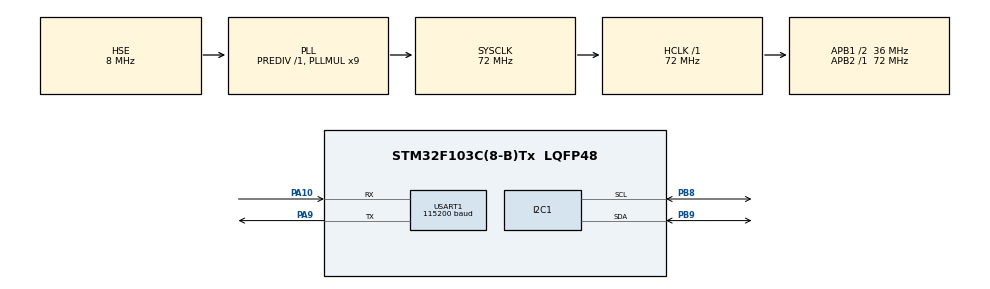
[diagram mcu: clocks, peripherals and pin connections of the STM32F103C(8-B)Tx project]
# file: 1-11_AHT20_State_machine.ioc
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Dma.I2C1_RX.2.Direction=DMA_PERIPH_TO_MEMORY
Dma.I2C1_RX.2.Instance=DMA1_Channel7
Dma.I2C1_RX.2.MemDataAlignment=DMA_MDATAALIGN_BYTE
Dma.I2C1_RX.2.MemInc=DMA_MINC_ENABLE
Dma.I2C1_RX.2.Mode=DMA_NORMAL
Dma.I2C1_RX.2.PeriphDataAlignment=DMA_PDATAALIGN_BYTE
Dma.I2C1_RX.2.PeriphInc=DMA_PINC_DISABLE
Dma.I2C1_RX.2.Priority=DMA_PRIORITY_LOW
Dma.I2C1_TX.3.Direction=DMA_MEMORY_TO_PERIPH
Dma.I2C1_TX.3.Instance=DMA1_Channel6
Dma.I2C1_TX.3.MemDataAlignment=DMA_MDATAALIGN_BYTE
Dma.I2C1_TX.3.MemInc=DMA_MINC_ENABLE
Dma.I2C1_TX.3.Mode=DMA_NORMAL
Dma.I2C1_TX.3.PeriphDataAlignment=DMA_PDATAALIGN_BYTE
Dma.I2C1_TX.3.PeriphInc=DMA_PINC_DISABLE
Dma.I2C1_TX.3.Priority=DMA_PRIORITY_LOW
Dma.Request0=USART1_RX
Dma.Request1=USART1_TX
Dma.Request2=I2C1_RX
Dma.Request3=I2C1_TX
Dma.USART1_RX.0.Direction=DMA_PERIPH_TO_MEMORY
Dma.USART1_RX.0.Instance=DMA1_Channel5
Dma.USART1_RX.0.MemDataAlignment=DMA_MDATAALIGN_BYTE
Dma.USART1_RX.0.MemInc=DMA_MINC_ENABLE
Dma.USART1_RX.0.Mode=DMA_NORMAL
Dma.USART1_RX.0.PeriphDataAlignment=DMA_PDATAALIGN_BYTE
Dma.USART1_RX.0.PeriphInc=DMA_PINC_DISABLE
Dma.USART1_RX.0.Priority=DMA_PRIORITY_LOW
Dma.USART1_TX.1.Direction=DMA_MEMORY_TO_PERIPH
Dma.USART1_TX.1.Instance=DMA1_Channel4
Dma.USART1_TX.1.MemDataAlignment=DMA_MDATAALIGN_BYTE
Dma.USART1_TX.1.MemInc=DMA_MINC_ENABLE
Dma.USART1_TX.1.Mode=DMA_NORMAL
Dma.USART1_TX.1.PeriphDataAlignment=DMA_PDATAALIGN_BYTE
Dma.USART1_TX.1.PeriphInc=DMA_PINC_DISABLE
Dma.USART1_TX.1.Priority=DMA_PRIORITY_LOW
I2C1.I2C_Mode=I2C_Fast
Mcu.Family=STM32F1
Mcu.Name=STM32F103C(8-B)Tx
Mcu.Package=LQFP48
NVIC.DMA1_Channel4_IRQn=true\:0\:0\:false\:false\:true\:false\:true\:true
NVIC.DMA1_Channel5_IRQn=true\:0\:0\:false\:false\:true\:false\:true\:true
NVIC.DMA1_Channel6_IRQn=true\:0\:0\:false\:false\:true\:false\:true\:true
NVIC.DMA1_Channel7_IRQn=true\:0\:0\:false\:false\:true\:false\:true\:true
NVIC.I2C1_ER_IRQn=true\:0\:0\:false\:false\:true\:true\:true\:true
NVIC.I2C1_EV_IRQn=true\:0\:0\:false\:false\:true\:true\:true\:true
NVIC.PriorityGroup=NVIC_PRIORITYGROUP_4
NVIC.TIM2_IRQn=true\:0\:0\:false\:false\:true\:true\:true\:true
NVIC.USART1_IRQn=true\:0\:0\:false\:false\:true\:true\:true\:true
PA10.Mode=Asynchronous
PA10.Signal=USART1_RX
PA13.Mode=Serial_Wire
PA13.Signal=SYS_JTMS-SWDIO
PA14.Mode=Serial_Wire
PA14.Signal=SYS_JTCK-SWCLK
PA9.Mode=Asynchronous
PA9.Signal=USART1_TX
PB8.Mode=I2C
PB8.Signal=I2C1_SCL
PB9.Mode=I2C
PB9.Signal=I2C1_SDA
PC14-OSC32_IN.Mode=LSE-External-Oscillator
PC14-OSC32_IN.Signal=RCC_OSC32_IN
PC15-OSC32_OUT.Mode=LSE-External-Oscillator
PC15-OSC32_OUT.Signal=RCC_OSC32_OUT
PD0-OSC_IN.Mode=HSE-External-Oscillator
PD0-OSC_IN.Signal=RCC_OSC_IN
PD1-OSC_OUT.Mode=HSE-External-Oscillator
PD1-OSC_OUT.Signal=RCC_OSC_OUT
ProjectManager.HeapSize=0x200
ProjectManager.StackSize=0x400
ProjectManager.TargetToolchain=STM32CubeIDE
RCC.AHBFreq_Value=72000000
RCC.APB1CLKDivider=RCC_HCLK_DIV2
RCC.APB1Freq_Value=36000000
RCC.APB1TimFreq_Value=72000000
RCC.APB2Freq_Value=72000000
RCC.APB2TimFreq_Value=72000000
RCC.HCLKFreq_Value=72000000
RCC.PLLMUL=RCC_PLL_MUL9
RCC.PLLSourceVirtual=RCC_PLLSOURCE_HSE
RCC.SYSCLKFreq_VALUE=72000000
RCC.SYSCLKSource=RCC_SYSCLKSOURCE_PLLCLK
RCC.USBFreq_Value=72000000
TIM2.Period=10000-1
TIM2.Prescaler=7200-1
USART1.BaudRate=115200
USART1.VirtualMode=VM_ASYNC
VP_TIM2_VS_ClockSourceINT.Mode=Internal
board=custom

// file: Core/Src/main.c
/* USER CODE BEGIN Header */
/**
  ******************************************************************************
  * @file           : main.c
  * @brief          : Main program body
  ******************************************************************************
  * @attention		<<===========未测试============>>
  *
  * Copyright (c) 2025 STMicroelectronics.
  * All rights reserved.
  *
  * This software is licensed under terms that can be found in the LICENSE file
  * in the root directory of this software component.
  * If no LICENSE file comes with this software, it is provided AS-IS.
  *
  ******************************************************************************
  */
/* USER CODE END Header */
#include "main.h"
#include "dma.h"
#include "i2c.h"
#include "tim.h"
#include "usart.h"
#include "gpio.h"

/* USER CODE BEGIN Includes */
#include "string.h"
#include"../inc/retarget.h"		//printf函数重映射
#include "../../User/OLED/oled.h"
#include "../../User/AHT20/AHT20.h"

/* USER CODE END Includes */

/* USER CODE BEGIN PV */
typedef enum
{
  Initial    = 0x00U,
  sending    = 0x01U,
  sended     = 0x02U,
  reading  	 = 0x03U,
  readed 	 = 0x04U
} AHT20_StatusTypeDef;

/* USER CODE END PV */

void SystemClock_Config(void);

/* USER CODE BEGIN 0 */

uint16_t fps = 0, fps_max = 0;
char buffer[15] = {0};//用于格式化显示

//重定义'定时器周期回调'函数
void HAL_TIM_PeriodElapsedCallback(TIM_HandleTypeDef *htim){	//1S周期回调
	if(htim == &htim2){
		if(fps_max - fps < -1 || fps_max - fps > 1)
		{
			fps_max = fps;
		}
		fps = 0;

		//printf("Success!");

	}
}

extern DMA_HandleTypeDef hdma_usart1_rx;//声明外部句柄
char receivData[50] = {0};//存放接收内容(记得初始化)
uint8_t dataReady;//发送标志位

//重定义'接收完成回调'函数
//void HAL_UART_RxCpltCallback(UART_HandleTypeDef *huart){//'HAL_UART_Receive_IT'的回调函数
//	if(huart == &huart1){
//	  HAL_UART_Transmit_DMA(&huart1,  (uint8_t*)receivData,50);//开启中断发送，将本次接收的数据发回
//
//	  //do something
//
//	  HAL_UART_Receive_DMA(&huart1, (uint8_t*)receivData, 50);//开启下一次中断接收
//	}
//}

//重定义'串口事件回调'函数
void HAL_UARTEx_RxEventCallback(UART_HandleTypeDef *huart, uint16_t Size){
	if(huart == &huart1){
		dataReady = 1;//在主函数里处理发送
		//HAL_UART_Transmit_DMA(&huart1, (uint8_t*)receivData, Size);//这里将数据发回,所以发送接收到的长度

		//处理数据...

		HAL_UARTEx_ReceiveToIdle_DMA(&huart1, (uint8_t*)receivData, 50);
		__HAL_DMA_DISABLE_IT(&hdma_usart1_rx,DMA_IT_HT);//关闭DMA接收过半中断
	}

}

float temperature,humidity;
AHT20_StatusTypeDef 	AHT20_Status;		//状态机标志位

//重定义'i2c接收完成回调'函数
void HAL_I2C_MasterRxCpltCallback(I2C_HandleTypeDef *hi2c){
	if(hi2c == &hi2c1){
		AHT20_Status = readed;
	}
}
//重定义'i2c发送完成回调'函数
void HAL_I2C_MasterTxCpltCallback(I2C_HandleTypeDef *hi2c){
	if(hi2c == &hi2c1){
		AHT20_Status = sended;
	}
}

/* USER CODE END 0 */

int main(void)
{

  /* MCU Configuration--------------------------------------------------------*/

  /* Reset of all peripherals, Initializes the Flash interface and the Systick. */
  HAL_Init();

  /* Configure the system clock */
  SystemClock_Config();

  /* Initialize all configured peripherals */
  MX_GPIO_Init();
  MX_DMA_Init();
  MX_USART1_UART_Init();
  MX_I2C1_Init();
  MX_TIM2_Init();
  /* USER CODE BEGIN 2 */

  RetargetInit(&huart1);//将printf()函数映射到UART1串口上

  OLED_Init();
  AHT20_Init();

  //HAL_UART_Receive_DMA(&huart1, (uint8_t*)receivData, 5);//开启中断接收(DMA)
  HAL_UARTEx_ReceiveToIdle_DMA(&huart1, (uint8_t*)receivData, 50);//开启接收，末参数为最大长度
  __HAL_DMA_DISABLE_IT(&hdma_usart1_rx,DMA_IT_HT);//关闭DMA接收过半中断

  HAL_TIM_Base_Start_IT(&htim2);//开启定时
  /* USER CODE END 2 */

  /* Infinite loop */
  /* USER CODE BEGIN WHILE */
  while (1)
  {
	 /*AHT20状态机*/
	switch (AHT20_Status){
		case Initial:
			AHT20_Start();
			AHT20_Status = sending;
			break;

		case sending:break;//这两个状态在中断回调里切换

		case sended:
			HAL_Delay(75);//等待从机

			AHT20_Get();//发送完成，开始读取
			AHT20_Status = reading;
			break;

		case reading:break;//这两个状态在中断回调里切换

		case readed:
			AHT20_Analysis(&temperature,&humidity);
			sprintf(receivData,"温度：%.1f℃，湿度：%.1f %%\r\n",temperature,humidity);
			HAL_UART_Transmit_DMA(&huart1,(uint8_t*)receivData,strlen(receivData));

			HAL_Delay(1000);
			AHT20_Status = Initial;
			break;

		default:printf("AHT20_ERR");
	}
	//显示帧数
	OLED_NewFrame();
	sprintf(buffer,"%u %u", fps_max, fps);
	OLED_PrintASCIIString(0, 0, buffer, &afont16x8, OLED_COLOR_NORMAL);
	OLED_PrintASCIIString(0, 20, receivData, &font16x16, OLED_COLOR_NORMAL);
	OLED_ShowFrame();
	fps++;	//每刷新一帧++

    /* USER CODE END WHILE */

  }
}

void SystemClock_Config(void)
{
  RCC_OscInitTypeDef RCC_OscInitStruct = {0};
  RCC_ClkInitTypeDef RCC_ClkInitStruct = {0};

  /** Initializes the RCC Oscillators according to the specified parameters
  * in the RCC_OscInitTypeDef structure.
  */
  RCC_OscInitStruct.OscillatorType = RCC_OSCILLATORTYPE_HSE;
  RCC_OscInitStruct.HSEState = RCC_HSE_ON;
  RCC_OscInitStruct.HSEPredivValue = RCC_HSE_PREDIV_DIV1;
  RCC_OscInitStruct.HSIState = RCC_HSI_ON;
  RCC_OscInitStruct.PLL.PLLState = RCC_PLL_ON;
  RCC_OscInitStruct.PLL.PLLSource = RCC_PLLSOURCE_HSE;
  RCC_OscInitStruct.PLL.PLLMUL = RCC_PLL_MUL9;
  if (HAL_RCC_OscConfig(&RCC_OscInitStruct) != HAL_OK)
  {
    Error_Handler();
  }

  /** Initializes the CPU, AHB and APB buses clocks
  */
  RCC_ClkInitStruct.ClockType = RCC_CLOCKTYPE_HCLK|RCC_CLOCKTYPE_SYSCLK
                              |RCC_CLOCKTYPE_PCLK1|RCC_CLOCKTYPE_PCLK2;
  RCC_ClkInitStruct.SYSCLKSource = RCC_SYSCLKSOURCE_PLLCLK;
  RCC_ClkInitStruct.AHBCLKDivider = RCC_SYSCLK_DIV1;
  RCC_ClkInitStruct.APB1CLKDivider = RCC_HCLK_DIV2;
  RCC_ClkInitStruct.APB2CLKDivider = RCC_HCLK_DIV1;

  if (HAL_RCC_ClockConfig(&RCC_ClkInitStruct, FLASH_LATENCY_2) != HAL_OK)
  {
    Error_Handler();
  }
}

void Error_Handler(void)
{
  __disable_irq();
  while (1)
  {
  }
}
